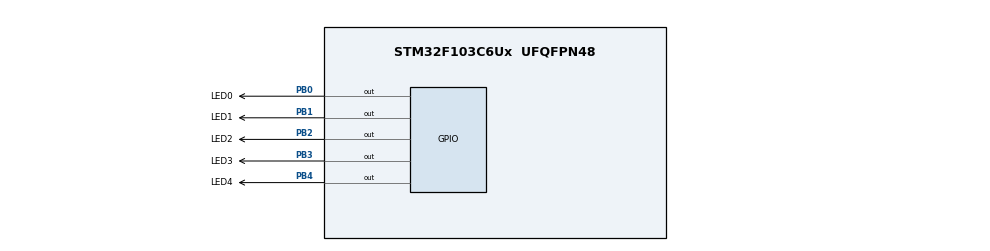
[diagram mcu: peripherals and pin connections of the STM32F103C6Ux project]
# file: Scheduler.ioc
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Mcu.Family=STM32F1
Mcu.Name=STM32F103C6Ux
Mcu.Package=UFQFPN48
NVIC.PriorityGroup=NVIC_PRIORITYGROUP_4
NVIC.TIM2_IRQn=true\:0\:0\:false\:false\:true\:true\:true
PB0.GPIO_Label=LED0
PB0.Signal=GPIO_Output
PB1.GPIO_Label=LED1
PB1.Signal=GPIO_Output
PB2.GPIO_Label=LED2
PB2.Signal=GPIO_Output
PB3.GPIO_Label=LED3
PB3.Signal=GPIO_Output
PB4.GPIO_Label=LED4
PB4.Signal=GPIO_Output
ProjectManager.HeapSize=0x200
ProjectManager.StackSize=0x400
ProjectManager.TargetToolchain=STM32CubeIDE
RCC.APB1Freq_Value=8000000
RCC.APB2Freq_Value=8000000
TIM2.Period=9
TIM2.Prescaler=7999
VP_SYS_VS_ND.Mode=No_Debug
VP_TIM2_VS_ClockSourceINT.Mode=Internal
board=custom

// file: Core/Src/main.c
/* USER CODE BEGIN Header */
/**
  ******************************************************************************
  * @file           : main.c
  * @brief          : Main program body
  ******************************************************************************
  * @attention
  *
  * <h2><center>&copy; Copyright (c) 2023 STMicroelectronics.
  * All rights reserved.</center></h2>
  *
  * This software component is licensed by ST under BSD 3-Clause license,
  * the "License"; You may not use this file except in compliance with the
  * License. You may obtain a copy of the License at:
  *                        opensource.org/licenses/BSD-3-Clause
  *
  ******************************************************************************
  */
/* USER CODE END Header */
#include "main.h"

/* USER CODE BEGIN Includes */
#include "timer.h"
#include "sch.h"
#include "func.h"
/* USER CODE END Includes */

TIM_HandleTypeDef htim2;

void SystemClock_Config(void);
static void MX_TIM2_Init(void);
static void MX_GPIO_Init(void);

int main(void)
{

  /* MCU Configuration--------------------------------------------------------*/

  /* Reset of all peripherals, Initializes the Flash interface and the Systick. */
  HAL_Init();

  /* Configure the system clock */
  SystemClock_Config();

  /* Initialize all configured peripherals */
  MX_TIM2_Init();
  MX_GPIO_Init();
  /* USER CODE BEGIN 2 */
  HAL_TIM_Base_Start_IT (& htim2 );
  GetFreq(htim2.Init.Prescaler, htim2.Init.Period);
  SCH_Innit();
  set_timer(0, TICKS);
  SCH_Add_Task(Toggle_LED1, 0, 500);
  SCH_Add_Task(Toggle_LED2, 0, 1000);
  SCH_Add_Task(Toggle_LED3, 0, 1500);
  SCH_Add_Task(Toggle_LED4, 250, 2000);
  SCH_Add_Task(Toggle_LED5, 250, 2500);
  /* USER CODE END 2 */

  /* Infinite loop */
  /* USER CODE BEGIN WHILE */
  while (1)
  {
	  if(is_timer_on(0)){
		  SCH_Update();
		  SCH_Dispatch_Tasks();
		  set_timer(0, TICKS);
	  }

    /* USER CODE END WHILE */

  }
}

void SystemClock_Config(void)
{
  RCC_OscInitTypeDef RCC_OscInitStruct = {0};
  RCC_ClkInitTypeDef RCC_ClkInitStruct = {0};

  /** Initializes the RCC Oscillators according to the specified parameters
  * in the RCC_OscInitTypeDef structure.
  */
  RCC_OscInitStruct.OscillatorType = RCC_OSCILLATORTYPE_HSI;
  RCC_OscInitStruct.HSIState = RCC_HSI_ON;
  RCC_OscInitStruct.HSICalibrationValue = RCC_HSICALIBRATION_DEFAULT;
  RCC_OscInitStruct.PLL.PLLState = RCC_PLL_NONE;
  if (HAL_RCC_OscConfig(&RCC_OscInitStruct) != HAL_OK)
  {
    Error_Handler();
  }
  /** Initializes the CPU, AHB and APB buses clocks
  */
  RCC_ClkInitStruct.ClockType = RCC_CLOCKTYPE_HCLK|RCC_CLOCKTYPE_SYSCLK
                              |RCC_CLOCKTYPE_PCLK1|RCC_CLOCKTYPE_PCLK2;
  RCC_ClkInitStruct.SYSCLKSource = RCC_SYSCLKSOURCE_HSI;
  RCC_ClkInitStruct.AHBCLKDivider = RCC_SYSCLK_DIV1;
  RCC_ClkInitStruct.APB1CLKDivider = RCC_HCLK_DIV1;
  RCC_ClkInitStruct.APB2CLKDivider = RCC_HCLK_DIV1;

  if (HAL_RCC_ClockConfig(&RCC_ClkInitStruct, FLASH_LATENCY_0) != HAL_OK)
  {
    Error_Handler();
  }
}

static void MX_TIM2_Init(void)
{

  TIM_ClockConfigTypeDef sClockSourceConfig = {0};
  TIM_MasterConfigTypeDef sMasterConfig = {0};

  htim2.Instance = TIM2;
  htim2.Init.Prescaler = 7999;
  htim2.Init.CounterMode = TIM_COUNTERMODE_UP;
  htim2.Init.Period = 9;
  htim2.Init.ClockDivision = TIM_CLOCKDIVISION_DIV1;
  htim2.Init.AutoReloadPreload = TIM_AUTORELOAD_PRELOAD_DISABLE;
  if (HAL_TIM_Base_Init(&htim2) != HAL_OK)
  {
    Error_Handler();
  }
  sClockSourceConfig.ClockSource = TIM_CLOCKSOURCE_INTERNAL;
  if (HAL_TIM_ConfigClockSource(&htim2, &sClockSourceConfig) != HAL_OK)
  {
    Error_Handler();
  }
  sMasterConfig.MasterOutputTrigger = TIM_TRGO_RESET;
  sMasterConfig.MasterSlaveMode = TIM_MASTERSLAVEMODE_DISABLE;
  if (HAL_TIMEx_MasterConfigSynchronization(&htim2, &sMasterConfig) != HAL_OK)
  {
    Error_Handler();
  }

}

static void MX_GPIO_Init(void)
{
  GPIO_InitTypeDef GPIO_InitStruct = {0};

  /* GPIO Ports Clock Enable */
  __HAL_RCC_GPIOB_CLK_ENABLE();

  /*Configure GPIO pin Output Level */
  HAL_GPIO_WritePin(GPIOB, LED0_Pin|LED1_Pin|LED2_Pin|LED3_Pin
                          |LED4_Pin, GPIO_PIN_RESET);

  /*Configure GPIO pins : LED0_Pin LED1_Pin LED2_Pin LED3_Pin
                           LED4_Pin */
  GPIO_InitStruct.Pin = LED0_Pin|LED1_Pin|LED2_Pin|LED3_Pin
                          |LED4_Pin;
  GPIO_InitStruct.Mode = GPIO_MODE_OUTPUT_PP;
  GPIO_InitStruct.Pull = GPIO_NOPULL;
  GPIO_InitStruct.Speed = GPIO_SPEED_FREQ_LOW;
  HAL_GPIO_Init(GPIOB, &GPIO_InitStruct);

}

void Error_Handler(void)
{
  __disable_irq();
  while (1)
  {
  }
}

/************************ (C) COPYRIGHT STMicroelectronics *****END OF FILE****/
